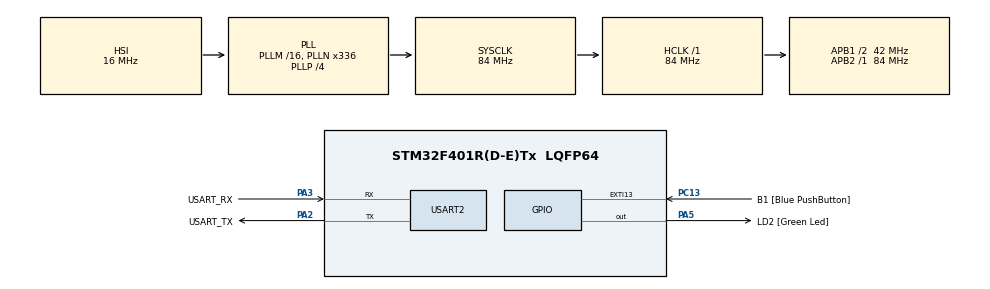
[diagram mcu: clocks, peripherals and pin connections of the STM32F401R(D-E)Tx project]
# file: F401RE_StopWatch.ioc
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Mcu.Family=STM32F4
Mcu.Name=STM32F401R(D-E)Tx
Mcu.Package=LQFP64
NVIC.PriorityGroup=NVIC_PRIORITYGROUP_0
PA13.GPIO_Label=TMS
PA13.Signal=SYS_JTMS-SWDIO
PA14.GPIO_Label=TCK
PA14.Signal=SYS_JTCK-SWCLK
PA2.GPIO_Label=USART_TX
PA2.GPIO_Mode=GPIO_MODE_AF_PP
PA2.GPIO_PuPd=GPIO_NOPULL
PA2.GPIO_Speed=GPIO_SPEED_FREQ_LOW
PA2.Mode=Asynchronous
PA2.Signal=USART2_TX
PA3.GPIO_Label=USART_RX
PA3.GPIO_Mode=GPIO_MODE_AF_PP
PA3.GPIO_PuPd=GPIO_NOPULL
PA3.GPIO_Speed=GPIO_SPEED_FREQ_LOW
PA3.Mode=Asynchronous
PA3.Signal=USART2_RX
PA5.GPIO_Label=LD2 [Green Led]
PA5.GPIO_Mode=GPIO_MODE_OUTPUT_PP
PA5.GPIO_PuPd=GPIO_NOPULL
PA5.GPIO_Speed=GPIO_SPEED_FREQ_LOW
PA5.Signal=GPIO_Output
PB3.GPIO_Label=SWO
PB3.Signal=SYS_JTDO-SWO
PC13-ANTI_TAMP.GPIO_Label=B1 [Blue PushButton]
PC13-ANTI_TAMP.GPIO_ModeDefaultEXTI=GPIO_MODE_EVT_RISING
PC13-ANTI_TAMP.GPIO_PuPd=GPIO_NOPULL
PC13-ANTI_TAMP.Signal=GPXTI13
PC14-OSC32_IN.Signal=RCC_OSC32_IN
PC15-OSC32_OUT.Signal=RCC_OSC32_OUT
PH0\ -\ OSC_IN.Signal=RCC_OSC_IN
PH1\ -\ OSC_OUT.Signal=RCC_OSC_OUT
ProjectManager.HeapSize=0x200
ProjectManager.StackSize=0x400
ProjectManager.TargetToolchain=MDK-ARM V5
RCC.AHBFreq_Value=84000000
RCC.APB1CLKDivider=RCC_HCLK_DIV2
RCC.APB1Freq_Value=42000000
RCC.APB1TimFreq_Value=84000000
RCC.APB2Freq_Value=84000000
RCC.APB2TimFreq_Value=84000000
RCC.CortexFreq_Value=84000000
RCC.HCLKFreq_Value=84000000
RCC.HSE_VALUE=8000000
RCC.HSI_VALUE=16000000
RCC.LSE_VALUE=32768
RCC.PLLN=336
RCC.PLLP=RCC_PLLP_DIV4
RCC.PLLQ=7
RCC.SYSCLKFreq_VALUE=84000000
RCC.SYSCLKSource=RCC_SYSCLKSOURCE_PLLCLK
RCC.VCOOutputFreq_Value=336000000
board=NUCLEO-F401RE

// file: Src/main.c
/**
  ******************************************************************************
  * File Name          : main.c
  * Description        : Main program body
  ******************************************************************************
  *
  * COPYRIGHT(c) 2016 STMicroelectronics
  *
  * Redistribution and use in source and binary forms, with or without modification,
  * are permitted provided that the following conditions are met:
  *   1. Redistributions of source code must retain the above copyright notice,
  *      this list of conditions and the following disclaimer.
  *   2. Redistributions in binary form must reproduce the above copyright notice,
  *      this list of conditions and the following disclaimer in the documentation
  *      and/or other materials provided with the distribution.
  *   3. Neither the name of STMicroelectronics nor the names of its contributors
  *      may be used to endorse or promote products derived from this software
  *      without specific prior written permission.
  *
  * THIS SOFTWARE IS PROVIDED BY THE COPYRIGHT HOLDERS AND CONTRIBUTORS "AS IS"
  * AND ANY EXPRESS OR IMPLIED WARRANTIES, INCLUDING, BUT NOT LIMITED TO, THE
  * IMPLIED WARRANTIES OF MERCHANTABILITY AND FITNESS FOR A PARTICULAR PURPOSE ARE
  * DISCLAIMED. IN NO EVENT SHALL THE COPYRIGHT HOLDER OR CONTRIBUTORS BE LIABLE
  * FOR ANY DIRECT, INDIRECT, INCIDENTAL, SPECIAL, EXEMPLARY, OR CONSEQUENTIAL
  * DAMAGES (INCLUDING, BUT NOT LIMITED TO, PROCUREMENT OF SUBSTITUTE GOODS OR
  * SERVICES; LOSS OF USE, DATA, OR PROFITS; OR BUSINESS INTERRUPTION) HOWEVER
  * CAUSED AND ON ANY THEORY OF LIABILITY, WHETHER IN CONTRACT, STRICT LIABILITY,
  * OR TORT (INCLUDING NEGLIGENCE OR OTHERWISE) ARISING IN ANY WAY OUT OF THE USE
  * OF THIS SOFTWARE, EVEN IF ADVISED OF THE POSSIBILITY OF SUCH DAMAGE.
  *
  ******************************************************************************
  */
#include "stm32f4xx_hal.h"

/* USER CODE BEGIN Includes */
#include <stdio.h>
#include <stdlib.h>
#include <string.h>
/* USER CODE END Includes */

UART_HandleTypeDef huart2;

/* USER CODE BEGIN PV */
/* Private variables ---------------------------------------------------------*/
#define	LED_PORT		GPIOA
#define	LED_PIN			GPIO_PIN_5
#define	LED_ON			GPIO_PIN_SET
#define	LED_OFF		GPIO_PIN_RESET
#define	SW_PORT		GPIOC
#define	SW_PIN			GPIO_PIN_13
#define	SW_OFF			GPIO_PIN_SET
#define	SW_ON			GPIO_PIN_RESET

#define	SET		0
#define	RUN		1
#define	STOP	2

char State = SET;
volatile int time_count = 0;
/* USER CODE END PV */

void SystemClock_Config(void);
void Error_Handler(void);
static void MX_GPIO_Init(void);
static void MX_USART2_UART_Init(void);

/* USER CODE BEGIN PFP */
/* Private function prototypes -----------------------------------------------*/
char sio_getc(void);		// UARTから1文字取得
void sio_putc(char);		// UARTに1文字を出力
void sio_puts(char *);	// UARTに文字列を出力
char GetSwotcj(void);
void ShowCount(void);
void Beep(void);
/* USER CODE END PFP */

/* USER CODE BEGIN 0 */

void HAL_SYSTICK_Callback(){
	if(State == RUN)
		time_count++;
}

char sio_getc()
{
	char ch;
	while(HAL_UART_Receive(&huart2, (uint8_t *)&ch, 1, 1000)==HAL_TIMEOUT) ;
	return ch;
}

void sio_putc(char ch)
{
	HAL_UART_Transmit(&huart2, (uint8_t *)&ch, 1, 1000);
}

void sio_puts(char *str)
{
	HAL_UART_Transmit(&huart2, (uint8_t *)str, strlen(str), 1000);
}

void ShowCount()
{
	char str[10];
	static int lastval = -1;
	int val = time_count / 10;
	int ms, sec, min;
	if(lastval == val)
		return;

	ms = val % 100;
	sec = (val / 100) % 60;
	min = (val / 6000);
	sio_puts("\033[2J");
	sio_puts("\033[0;0H");
	sio_puts("Stop Watch\n");
	sprintf(str, "%02d:%02d:%02d\n", min, sec, ms);
	sio_puts(str);
}

char GetSwitch()
{
	if(HAL_GPIO_ReadPin(SW_PORT, SW_PIN) == SW_ON){
		HAL_GPIO_WritePin(LED_PORT, LED_PIN, LED_ON);
		return 1;
	}else{
		HAL_GPIO_WritePin(LED_PORT, LED_PIN, LED_OFF);
		return 0;
	}
}

/* USER CODE END 0 */

int main(void)
{

  /* MCU Configuration----------------------------------------------------------*/

  /* Reset of all peripherals, Initializes the Flash interface and the Systick. */
  HAL_Init();

  /* Configure the system clock */
  SystemClock_Config();

  /* Initialize all configured peripherals */
  MX_GPIO_Init();
  MX_USART2_UART_Init();

  /* USER CODE BEGIN 2 */
	State = SET;
	time_count = 0;
	sio_puts("Stop Watch\n");
	ShowCount();
  /* USER CODE END 2 */

  /* Infinite loop */
  /* USER CODE BEGIN WHILE */
  while (1)
  {
	  if(GetSwitch()){
		  switch(State){
			  case SET:{
				  State = RUN;
				  break;
			  }
			  case RUN: {
				  State = STOP;
				  break;
			  }
			  case STOP:{
				  time_count = 0;
				  State = SET;
				  break;
			  }
		  }
		  while(GetSwitch())
			  ShowCount();
	  }
	  ShowCount();

  /* USER CODE END WHILE */

  }

}

/** System Clock Configuration
*/
void SystemClock_Config(void)
{

  RCC_OscInitTypeDef RCC_OscInitStruct;
  RCC_ClkInitTypeDef RCC_ClkInitStruct;

  __HAL_RCC_PWR_CLK_ENABLE();

  __HAL_PWR_VOLTAGESCALING_CONFIG(PWR_REGULATOR_VOLTAGE_SCALE2);

  RCC_OscInitStruct.OscillatorType = RCC_OSCILLATORTYPE_HSI;
  RCC_OscInitStruct.HSIState = RCC_HSI_ON;
  RCC_OscInitStruct.HSICalibrationValue = 16;
  RCC_OscInitStruct.PLL.PLLState = RCC_PLL_ON;
  RCC_OscInitStruct.PLL.PLLSource = RCC_PLLSOURCE_HSI;
  RCC_OscInitStruct.PLL.PLLM = 16;
  RCC_OscInitStruct.PLL.PLLN = 336;
  RCC_OscInitStruct.PLL.PLLP = RCC_PLLP_DIV4;
  RCC_OscInitStruct.PLL.PLLQ = 7;
  if (HAL_RCC_OscConfig(&RCC_OscInitStruct) != HAL_OK)
  {
    Error_Handler();
  }

  RCC_ClkInitStruct.ClockType = RCC_CLOCKTYPE_HCLK|RCC_CLOCKTYPE_SYSCLK
                              |RCC_CLOCKTYPE_PCLK1|RCC_CLOCKTYPE_PCLK2;
  RCC_ClkInitStruct.SYSCLKSource = RCC_SYSCLKSOURCE_PLLCLK;
  RCC_ClkInitStruct.AHBCLKDivider = RCC_SYSCLK_DIV1;
  RCC_ClkInitStruct.APB1CLKDivider = RCC_HCLK_DIV2;
  RCC_ClkInitStruct.APB2CLKDivider = RCC_HCLK_DIV1;
  if (HAL_RCC_ClockConfig(&RCC_ClkInitStruct, FLASH_LATENCY_2) != HAL_OK)
  {
    Error_Handler();
  }

  HAL_SYSTICK_Config(HAL_RCC_GetHCLKFreq()/1000);

  HAL_SYSTICK_CLKSourceConfig(SYSTICK_CLKSOURCE_HCLK);

  /* SysTick_IRQn interrupt configuration */
  HAL_NVIC_SetPriority(SysTick_IRQn, 0, 0);
}

/* USART2 init function */
static void MX_USART2_UART_Init(void)
{

  huart2.Instance = USART2;
  huart2.Init.BaudRate = 115200;
  huart2.Init.WordLength = UART_WORDLENGTH_8B;
  huart2.Init.StopBits = UART_STOPBITS_1;
  huart2.Init.Parity = UART_PARITY_NONE;
  huart2.Init.Mode = UART_MODE_TX_RX;
  huart2.Init.HwFlowCtl = UART_HWCONTROL_NONE;
  huart2.Init.OverSampling = UART_OVERSAMPLING_16;
  if (HAL_UART_Init(&huart2) != HAL_OK)
  {
    Error_Handler();
  }

}

/** Configure pins as
        * Analog
        * Input
        * Output
        * EVENT_OUT
        * EXTI
*/
static void MX_GPIO_Init(void)
{

  GPIO_InitTypeDef GPIO_InitStruct;

  /* GPIO Ports Clock Enable */
  __HAL_RCC_GPIOC_CLK_ENABLE();
  __HAL_RCC_GPIOH_CLK_ENABLE();
  __HAL_RCC_GPIOA_CLK_ENABLE();
  __HAL_RCC_GPIOB_CLK_ENABLE();

  /*Configure GPIO pin : B1_Pin */
  GPIO_InitStruct.Pin = B1_Pin;
  GPIO_InitStruct.Mode = GPIO_MODE_EVT_RISING;
  GPIO_InitStruct.Pull = GPIO_NOPULL;
  HAL_GPIO_Init(B1_GPIO_Port, &GPIO_InitStruct);

  /*Configure GPIO pin : LD2_Pin */
  GPIO_InitStruct.Pin = LD2_Pin;
  GPIO_InitStruct.Mode = GPIO_MODE_OUTPUT_PP;
  GPIO_InitStruct.Pull = GPIO_NOPULL;
  GPIO_InitStruct.Speed = GPIO_SPEED_FREQ_LOW;
  HAL_GPIO_Init(LD2_GPIO_Port, &GPIO_InitStruct);

  /*Configure GPIO pin Output Level */
  HAL_GPIO_WritePin(LD2_GPIO_Port, LD2_Pin, GPIO_PIN_RESET);

}

void Error_Handler(void)
{
  while(1)
  {
  }
}

/************************ (C) COPYRIGHT STMicroelectronics *****END OF FILE****/
